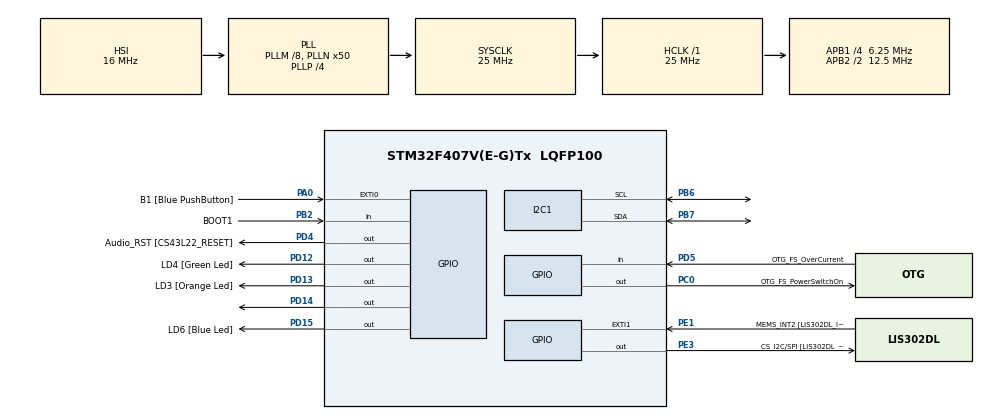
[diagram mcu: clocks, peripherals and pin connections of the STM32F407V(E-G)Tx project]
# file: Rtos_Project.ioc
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Mcu.Family=STM32F4
Mcu.Name=STM32F407V(E-G)Tx
Mcu.Package=LQFP100
NVIC.PriorityGroup=NVIC_PRIORITYGROUP_4
NVIC.TIM6_DAC_IRQn=true\:0\:0\:false\:false\:true\:false\:true\:true
NVIC.TimeBase=TIM6_DAC_IRQn
NVIC.TimeBaseIP=TIM6
PA0-WKUP.GPIO_Label=B1 [Blue PushButton]
PA0-WKUP.Signal=GPXTI0
PA10.GPIO_Label=OTG_FS_ID
PA10.GPIO_Mode=GPIO_MODE_AF_PP
PA10.GPIO_PuPd=GPIO_NOPULL
PA10.GPIO_Speed=GPIO_SPEED_FREQ_LOW
PA10.Signal=USB_OTG_FS_ID
PA11.GPIO_Label=OTG_FS_DM
PA11.GPIO_Mode=GPIO_MODE_AF_PP
PA11.GPIO_PuPd=GPIO_NOPULL
PA11.GPIO_Speed=GPIO_SPEED_FREQ_LOW
PA11.Signal=USB_OTG_FS_DM
PA12.GPIO_Label=OTG_FS_DP
PA12.GPIO_Mode=GPIO_MODE_AF_PP
PA12.GPIO_PuPd=GPIO_NOPULL
PA12.GPIO_Speed=GPIO_SPEED_FREQ_LOW
PA12.Signal=USB_OTG_FS_DP
PA13.GPIO_Label=SWDIO
PA13.Signal=SYS_JTMS-SWDIO
PA14.GPIO_Label=SWCLK
PA14.Signal=SYS_JTCK-SWCLK
PA4.GPIO_Label=I2S3_WS [CS43L22_LRCK]
PA4.GPIO_Mode=GPIO_MODE_AF_PP
PA4.GPIO_PuPd=GPIO_NOPULL
PA4.GPIO_Speed=GPIO_SPEED_FREQ_LOW
PA4.Signal=I2S3_WS
PA5.GPIO_Label=SPI1_SCK [LIS302DL_SCL/SPC]
PA5.GPIO_Mode=GPIO_MODE_AF_PP
PA5.GPIO_PuPd=GPIO_NOPULL
PA5.GPIO_Speed=GPIO_SPEED_FREQ_LOW
PA5.Signal=SPI1_SCK
PA6.GPIO_Label=SPI1_MISO [LIS302DL_SDO]
PA6.GPIO_Mode=GPIO_MODE_AF_PP
PA6.GPIO_PuPd=GPIO_NOPULL
PA6.GPIO_Speed=GPIO_SPEED_FREQ_LOW
PA6.Signal=SPI1_MISO
PA7.GPIO_Label=SPI1_MOSI [LIS302DL_SDA/SDI/SDO]
PA7.GPIO_Mode=GPIO_MODE_AF_PP
PA7.GPIO_PuPd=GPIO_NOPULL
PA7.GPIO_Speed=GPIO_SPEED_FREQ_LOW
PA7.Signal=SPI1_MOSI
PA9.GPIO_Label=VBUS_FS
PA9.GPIO_Mode=GPIO_MODE_INPUT
PA9.GPIO_PuPd=GPIO_NOPULL
PA9.Signal=USB_OTG_FS_VBUS
PB10.GPIO_Label=CLK_IN [MP45DT02_CLK]
PB10.GPIO_Mode=GPIO_MODE_AF_PP
PB10.GPIO_PuPd=GPIO_NOPULL
PB10.GPIO_Speed=GPIO_SPEED_FREQ_LOW
PB10.Signal=I2S2_CK
PB2.GPIO_Label=BOOT1
PB2.GPIO_Mode=GPIO_MODE_INPUT
PB2.GPIO_PuPd=GPIO_NOPULL
PB2.Signal=GPIO_Input
PB3.GPIO_Label=SWO
PB3.Signal=SYS_JTDO-SWO
PB6.Mode=I2C
PB6.Signal=I2C1_SCL
PB7.Mode=I2C
PB7.Signal=I2C1_SDA
PC0.GPIO_Label=OTG_FS_PowerSwitchOn
PC0.GPIO_PuPd=GPIO_NOPULL
PC0.GPIO_Speed=GPIO_SPEED_FREQ_LOW
PC0.PinState=GPIO_PIN_SET
PC0.Signal=GPIO_Output
PC10.GPIO_Label=I2S3_SCK [CS43L22_SCLK]
PC10.GPIO_Mode=GPIO_MODE_AF_PP
PC10.GPIO_PuPd=GPIO_NOPULL
PC10.GPIO_Speed=GPIO_SPEED_FREQ_LOW
PC10.Signal=I2S3_CK
PC12.GPIO_Label=I2S3_SD [CS43L22_SDIN]
PC12.GPIO_Mode=GPIO_MODE_AF_PP
PC12.GPIO_PuPd=GPIO_NOPULL
PC12.GPIO_Speed=GPIO_SPEED_FREQ_LOW
PC12.Signal=I2S3_SD
PC14-OSC32_IN.GPIO_Label=PC14-OSC32_IN
PC14-OSC32_IN.Signal=RCC_OSC32_IN
PC15-OSC32_OUT.GPIO_Label=PC15-OSC32_OUT
PC15-OSC32_OUT.Signal=RCC_OSC32_OUT
PC3.GPIO_Label=PDM_OUT [MP45DT02_DOUT]
PC3.GPIO_Mode=GPIO_MODE_AF_PP
PC3.GPIO_PuPd=GPIO_NOPULL
PC3.GPIO_Speed=GPIO_SPEED_FREQ_LOW
PC3.Signal=I2S2_SD
PC7.GPIO_Label=I2S3_MCK [CS43L22_MCLK]
PC7.GPIO_Mode=GPIO_MODE_AF_PP
PC7.GPIO_PuPd=GPIO_NOPULL
PC7.GPIO_Speed=GPIO_SPEED_FREQ_LOW
PC7.Signal=I2S3_MCK
PD12.GPIO_Label=LD4 [Green Led]
PD12.GPIO_PuPd=GPIO_NOPULL
PD12.GPIO_Speed=GPIO_SPEED_FREQ_LOW
PD12.Signal=GPIO_Output
PD13.GPIO_Label=LD3 [Orange Led]
PD13.GPIO_PuPd=GPIO_NOPULL
PD13.GPIO_Speed=GPIO_SPEED_FREQ_LOW
PD13.Signal=GPIO_Output
PD14.Signal=GPIO_Output
PD15.GPIO_Label=LD6 [Blue Led]
PD15.GPIO_PuPd=GPIO_NOPULL
PD15.GPIO_Speed=GPIO_SPEED_FREQ_LOW
PD15.Signal=GPIO_Output
PD4.GPIO_Label=Audio_RST [CS43L22_RESET]
PD4.GPIO_PuPd=GPIO_NOPULL
PD4.GPIO_Speed=GPIO_SPEED_FREQ_LOW
PD4.Signal=GPIO_Output
PD5.GPIO_Label=OTG_FS_OverCurrent
PD5.GPIO_Mode=GPIO_MODE_INPUT
PD5.GPIO_PuPd=GPIO_NOPULL
PD5.Signal=GPIO_Input
PE1.GPIO_Label=MEMS_INT2 [LIS302DL_INT2]
PE1.GPIO_ModeDefaultEXTI=GPIO_MODE_EVT_RISING
PE1.GPIO_PuPd=GPIO_NOPULL
PE1.Signal=GPXTI1
PE3.GPIO_Label=CS_I2C/SPI [LIS302DL_CS_I2C/SPI]
PE3.GPIO_PuPd=GPIO_NOPULL
PE3.GPIO_Speed=GPIO_SPEED_FREQ_LOW
PE3.Signal=GPIO_Output
PH0-OSC_IN.GPIO_Label=PH0-OSC_IN
PH0-OSC_IN.Signal=RCC_OSC_IN
PH1-OSC_OUT.GPIO_Label=PH1-OSC_OUT
PH1-OSC_OUT.Signal=RCC_OSC_OUT
ProjectManager.HeapSize=0x200
ProjectManager.StackSize=0x400
ProjectManager.TargetToolchain=STM32CubeIDE
RCC.48MHZClocksFreq_Value=14285714.285714285
RCC.AHBFreq_Value=25000000
RCC.APB1CLKDivider=RCC_HCLK_DIV4
RCC.APB1Freq_Value=6250000
RCC.APB1TimFreq_Value=12500000
RCC.APB2CLKDivider=RCC_HCLK_DIV2
RCC.APB2Freq_Value=12500000
RCC.APB2TimFreq_Value=25000000
RCC.CortexFreq_Value=25000000
RCC.HCLKFreq_Value=25000000
RCC.HSE_VALUE=8000000
RCC.HSI_VALUE=16000000
RCC.LSE_VALUE=32768
RCC.PLLM=8
RCC.PLLN=50
RCC.PLLP=RCC_PLLP_DIV4
RCC.PLLQ=7
RCC.SYSCLKFreq_VALUE=25000000
RCC.SYSCLKSource=RCC_SYSCLKSOURCE_PLLCLK
RCC.VCOOutputFreq_Value=100000000
VP_SYS_VS_tim6.Mode=TIM6
board=STM32F407G-DISC1

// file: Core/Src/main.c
/* USER CODE BEGIN Header */
/**
  ******************************************************************************
  * @file           : main.c
  * @brief          : Main program body
  ******************************************************************************
  * @attention
  *
  * Copyright (c) 2026 STMicroelectronics.
  * All rights reserved.
  *
  * This software is licensed under terms that can be found in the LICENSE file
  * in the root directory of this software component.
  * If no LICENSE file comes with this software, it is provided AS-IS.
  *
  ******************************************************************************
  */
/* USER CODE END Header */
#include "main.h"

/* USER CODE BEGIN Includes */
#include "FreeRTOS.h"
#include "task.h"
#include "queue.h"
#include  "lm75.h"
/* USER CODE END Includes */

I2C_HandleTypeDef hi2c1;

/* USER CODE BEGIN PV */
QueueHandle_t queue1;
QueueHandle_t queue2;
TaskHandle_t temp_handler;
TaskHandle_t log_handler;
TaskHandle_t alarm_handler;
float temp;

/* USER CODE END PV */

void SystemClock_Config(void);
static void MX_GPIO_Init(void);
static void MX_I2C1_Init(void);
/* USER CODE BEGIN PFP */
static void temperature_task(void *pvParameters);
static void log_task(void *pvParameters);
static void alarm_task(void *pvParameters);
/* USER CODE END PFP */

int main(void)
{

  /* USER CODE BEGIN 1 */
	BaseType_t status;
  /* USER CODE END 1 */

  /* MCU Configuration--------------------------------------------------------*/

  /* Reset of all peripherals, Initializes the Flash interface and the Systick. */
  HAL_Init();

  /* Configure the system clock */
  SystemClock_Config();

  /* Initialize all configured peripherals */
  MX_GPIO_Init();
  MX_I2C1_Init();
  /* USER CODE BEGIN 2 */

  queue1=xQueueCreate(5,sizeof(float));
  queue2=xQueueCreate(5,sizeof(float));

  if (LM75_Init(&hi2c1)!=HAL_OK){

	  Error_Handler();
  }

  status= xTaskCreate(temperature_task, "Temp", 256, NULL, 2,&temp_handler);
  configASSERT(status==pdPASS);
  status= xTaskCreate(log_task, "Log", 256, NULL, 2,&log_handler);
  configASSERT(status==pdPASS);
  status= xTaskCreate(alarm_task, "Log", 256, NULL, 2,&alarm_handler);
  configASSERT(status==pdPASS);
  vTaskStartScheduler();

  /* USER CODE END 2 */

  /* Infinite loop */
  while (1)
  {

  }
}

void SystemClock_Config(void)
{
  RCC_OscInitTypeDef RCC_OscInitStruct = {0};
  RCC_ClkInitTypeDef RCC_ClkInitStruct = {0};

  /** Configure the main internal regulator output voltage
  */
  __HAL_RCC_PWR_CLK_ENABLE();
  __HAL_PWR_VOLTAGESCALING_CONFIG(PWR_REGULATOR_VOLTAGE_SCALE1);

  /** Initializes the RCC Oscillators according to the specified parameters
  * in the RCC_OscInitTypeDef structure.
  */
  RCC_OscInitStruct.OscillatorType = RCC_OSCILLATORTYPE_HSI;
  RCC_OscInitStruct.HSIState = RCC_HSI_ON;
  RCC_OscInitStruct.HSICalibrationValue = RCC_HSICALIBRATION_DEFAULT;
  RCC_OscInitStruct.PLL.PLLState = RCC_PLL_ON;
  RCC_OscInitStruct.PLL.PLLSource = RCC_PLLSOURCE_HSI;
  RCC_OscInitStruct.PLL.PLLM = 8;
  RCC_OscInitStruct.PLL.PLLN = 50;
  RCC_OscInitStruct.PLL.PLLP = RCC_PLLP_DIV4;
  RCC_OscInitStruct.PLL.PLLQ = 7;
  if (HAL_RCC_OscConfig(&RCC_OscInitStruct) != HAL_OK)
  {
    Error_Handler();
  }

  /** Initializes the CPU, AHB and APB buses clocks
  */
  RCC_ClkInitStruct.ClockType = RCC_CLOCKTYPE_HCLK|RCC_CLOCKTYPE_SYSCLK
                              |RCC_CLOCKTYPE_PCLK1|RCC_CLOCKTYPE_PCLK2;
  RCC_ClkInitStruct.SYSCLKSource = RCC_SYSCLKSOURCE_PLLCLK;
  RCC_ClkInitStruct.AHBCLKDivider = RCC_SYSCLK_DIV1;
  RCC_ClkInitStruct.APB1CLKDivider = RCC_HCLK_DIV4;
  RCC_ClkInitStruct.APB2CLKDivider = RCC_HCLK_DIV2;

  if (HAL_RCC_ClockConfig(&RCC_ClkInitStruct, FLASH_LATENCY_0) != HAL_OK)
  {
    Error_Handler();
  }
}

static void MX_I2C1_Init(void)
{

  hi2c1.Instance = I2C1;
  hi2c1.Init.ClockSpeed = 100000;
  hi2c1.Init.DutyCycle = I2C_DUTYCYCLE_2;
  hi2c1.Init.OwnAddress1 = 0;
  hi2c1.Init.AddressingMode = I2C_ADDRESSINGMODE_7BIT;
  hi2c1.Init.DualAddressMode = I2C_DUALADDRESS_DISABLE;
  hi2c1.Init.OwnAddress2 = 0;
  hi2c1.Init.GeneralCallMode = I2C_GENERALCALL_DISABLE;
  hi2c1.Init.NoStretchMode = I2C_NOSTRETCH_DISABLE;
  if (HAL_I2C_Init(&hi2c1) != HAL_OK)
  {
    Error_Handler();
  }

}

static void MX_GPIO_Init(void)
{
  GPIO_InitTypeDef GPIO_InitStruct = {0};

  /* GPIO Ports Clock Enable */
  __HAL_RCC_GPIOE_CLK_ENABLE();
  __HAL_RCC_GPIOC_CLK_ENABLE();
  __HAL_RCC_GPIOH_CLK_ENABLE();
  __HAL_RCC_GPIOA_CLK_ENABLE();
  __HAL_RCC_GPIOB_CLK_ENABLE();
  __HAL_RCC_GPIOD_CLK_ENABLE();

  /*Configure GPIO pin Output Level */
  HAL_GPIO_WritePin(CS_I2C_SPI_GPIO_Port, CS_I2C_SPI_Pin, GPIO_PIN_RESET);

  /*Configure GPIO pin Output Level */
  HAL_GPIO_WritePin(OTG_FS_PowerSwitchOn_GPIO_Port, OTG_FS_PowerSwitchOn_Pin, GPIO_PIN_SET);

  /*Configure GPIO pin Output Level */
  HAL_GPIO_WritePin(GPIOD, LD4_Pin|LD3_Pin|GPIO_PIN_14|LD6_Pin
                          |Audio_RST_Pin, GPIO_PIN_RESET);

  /*Configure GPIO pin : CS_I2C_SPI_Pin */
  GPIO_InitStruct.Pin = CS_I2C_SPI_Pin;
  GPIO_InitStruct.Mode = GPIO_MODE_OUTPUT_PP;
  GPIO_InitStruct.Pull = GPIO_NOPULL;
  GPIO_InitStruct.Speed = GPIO_SPEED_FREQ_LOW;
  HAL_GPIO_Init(CS_I2C_SPI_GPIO_Port, &GPIO_InitStruct);

  /*Configure GPIO pin : OTG_FS_PowerSwitchOn_Pin */
  GPIO_InitStruct.Pin = OTG_FS_PowerSwitchOn_Pin;
  GPIO_InitStruct.Mode = GPIO_MODE_OUTPUT_PP;
  GPIO_InitStruct.Pull = GPIO_NOPULL;
  GPIO_InitStruct.Speed = GPIO_SPEED_FREQ_LOW;
  HAL_GPIO_Init(OTG_FS_PowerSwitchOn_GPIO_Port, &GPIO_InitStruct);

  /*Configure GPIO pin : PDM_OUT_Pin */
  GPIO_InitStruct.Pin = PDM_OUT_Pin;
  GPIO_InitStruct.Mode = GPIO_MODE_AF_PP;
  GPIO_InitStruct.Pull = GPIO_NOPULL;
  GPIO_InitStruct.Speed = GPIO_SPEED_FREQ_LOW;
  GPIO_InitStruct.Alternate = GPIO_AF5_SPI2;
  HAL_GPIO_Init(PDM_OUT_GPIO_Port, &GPIO_InitStruct);

  /*Configure GPIO pin : B1_Pin */
  GPIO_InitStruct.Pin = B1_Pin;
  GPIO_InitStruct.Mode = GPIO_MODE_IT_RISING;
  GPIO_InitStruct.Pull = GPIO_NOPULL;
  HAL_GPIO_Init(B1_GPIO_Port, &GPIO_InitStruct);

  /*Configure GPIO pin : I2S3_WS_Pin */
  GPIO_InitStruct.Pin = I2S3_WS_Pin;
  GPIO_InitStruct.Mode = GPIO_MODE_AF_PP;
  GPIO_InitStruct.Pull = GPIO_NOPULL;
  GPIO_InitStruct.Speed = GPIO_SPEED_FREQ_LOW;
  GPIO_InitStruct.Alternate = GPIO_AF6_SPI3;
  HAL_GPIO_Init(I2S3_WS_GPIO_Port, &GPIO_InitStruct);

  /*Configure GPIO pins : SPI1_SCK_Pin SPI1_MISO_Pin SPI1_MOSI_Pin */
  GPIO_InitStruct.Pin = SPI1_SCK_Pin|SPI1_MISO_Pin|SPI1_MOSI_Pin;
  GPIO_InitStruct.Mode = GPIO_MODE_AF_PP;
  GPIO_InitStruct.Pull = GPIO_NOPULL;
  GPIO_InitStruct.Speed = GPIO_SPEED_FREQ_LOW;
  GPIO_InitStruct.Alternate = GPIO_AF5_SPI1;
  HAL_GPIO_Init(GPIOA, &GPIO_InitStruct);

  /*Configure GPIO pin : BOOT1_Pin */
  GPIO_InitStruct.Pin = BOOT1_Pin;
  GPIO_InitStruct.Mode = GPIO_MODE_INPUT;
  GPIO_InitStruct.Pull = GPIO_NOPULL;
  HAL_GPIO_Init(BOOT1_GPIO_Port, &GPIO_InitStruct);

  /*Configure GPIO pin : CLK_IN_Pin */
  GPIO_InitStruct.Pin = CLK_IN_Pin;
  GPIO_InitStruct.Mode = GPIO_MODE_AF_PP;
  GPIO_InitStruct.Pull = GPIO_NOPULL;
  GPIO_InitStruct.Speed = GPIO_SPEED_FREQ_LOW;
  GPIO_InitStruct.Alternate = GPIO_AF5_SPI2;
  HAL_GPIO_Init(CLK_IN_GPIO_Port, &GPIO_InitStruct);

  /*Configure GPIO pins : LD4_Pin LD3_Pin PD14 LD6_Pin
                           Audio_RST_Pin */
  GPIO_InitStruct.Pin = LD4_Pin|LD3_Pin|GPIO_PIN_14|LD6_Pin
                          |Audio_RST_Pin;
  GPIO_InitStruct.Mode = GPIO_MODE_OUTPUT_PP;
  GPIO_InitStruct.Pull = GPIO_NOPULL;
  GPIO_InitStruct.Speed = GPIO_SPEED_FREQ_LOW;
  HAL_GPIO_Init(GPIOD, &GPIO_InitStruct);

  /*Configure GPIO pins : I2S3_MCK_Pin I2S3_SCK_Pin I2S3_SD_Pin */
  GPIO_InitStruct.Pin = I2S3_MCK_Pin|I2S3_SCK_Pin|I2S3_SD_Pin;
  GPIO_InitStruct.Mode = GPIO_MODE_AF_PP;
  GPIO_InitStruct.Pull = GPIO_NOPULL;
  GPIO_InitStruct.Speed = GPIO_SPEED_FREQ_LOW;
  GPIO_InitStruct.Alternate = GPIO_AF6_SPI3;
  HAL_GPIO_Init(GPIOC, &GPIO_InitStruct);

  /*Configure GPIO pin : VBUS_FS_Pin */
  GPIO_InitStruct.Pin = VBUS_FS_Pin;
  GPIO_InitStruct.Mode = GPIO_MODE_INPUT;
  GPIO_InitStruct.Pull = GPIO_NOPULL;
  HAL_GPIO_Init(VBUS_FS_GPIO_Port, &GPIO_InitStruct);

  /*Configure GPIO pins : OTG_FS_ID_Pin OTG_FS_DM_Pin OTG_FS_DP_Pin */
  GPIO_InitStruct.Pin = OTG_FS_ID_Pin|OTG_FS_DM_Pin|OTG_FS_DP_Pin;
  GPIO_InitStruct.Mode = GPIO_MODE_AF_PP;
  GPIO_InitStruct.Pull = GPIO_NOPULL;
  GPIO_InitStruct.Speed = GPIO_SPEED_FREQ_LOW;
  GPIO_InitStruct.Alternate = GPIO_AF10_OTG_FS;
  HAL_GPIO_Init(GPIOA, &GPIO_InitStruct);

  /*Configure GPIO pin : OTG_FS_OverCurrent_Pin */
  GPIO_InitStruct.Pin = OTG_FS_OverCurrent_Pin;
  GPIO_InitStruct.Mode = GPIO_MODE_INPUT;
  GPIO_InitStruct.Pull = GPIO_NOPULL;
  HAL_GPIO_Init(OTG_FS_OverCurrent_GPIO_Port, &GPIO_InitStruct);

  /*Configure GPIO pin : MEMS_INT2_Pin */
  GPIO_InitStruct.Pin = MEMS_INT2_Pin;
  GPIO_InitStruct.Mode = GPIO_MODE_EVT_RISING;
  GPIO_InitStruct.Pull = GPIO_NOPULL;
  HAL_GPIO_Init(MEMS_INT2_GPIO_Port, &GPIO_InitStruct);

}

/* USER CODE BEGIN 4 */

static void temperature_task(void *pvParameters){

(void)pvParameters;

	while(1){
		if(LM75_ReadTemperature(&temp)==HAL_OK){

			HAL_GPIO_TogglePin(GPIOD, GPIO_PIN_13);
			xQueueSend(queue1,&temp,portMAX_DELAY);
		}
		else{

			//error

		}
		vTaskDelay(pdMS_TO_TICKS(1000));

	}
}

static void log_task(void *pvParameters){
	(void)pvParameters;
	float temperature;

	while (1){

		if(xQueueReceive(queue1, &temperature, portMAX_DELAY)==pdPASS){

			HAL_GPIO_TogglePin(GPIOD, GPIO_PIN_14);
			xQueueSend(queue2,&temperature,portMAX_DELAY);

		}
		else{

			//error.
		}

	}

}

static void alarm_task(void *pvParameters){

	float temperature;
	while (1){
		if(xQueueReceive(queue2, &temperature, portMAX_DELAY)==pdPASS){
			if(temperature>26){

				HAL_GPIO_WritePin(GPIOD, GPIO_PIN_15, GPIO_PIN_SET);
			}

		}

	}

}

/* USER CODE END 4 */

void HAL_TIM_PeriodElapsedCallback(TIM_HandleTypeDef *htim)
{
  if (htim->Instance == TIM6)
  {
    HAL_IncTick();
  }
}

void Error_Handler(void)
{
  __disable_irq();
  while (1)
  {
  }
}
